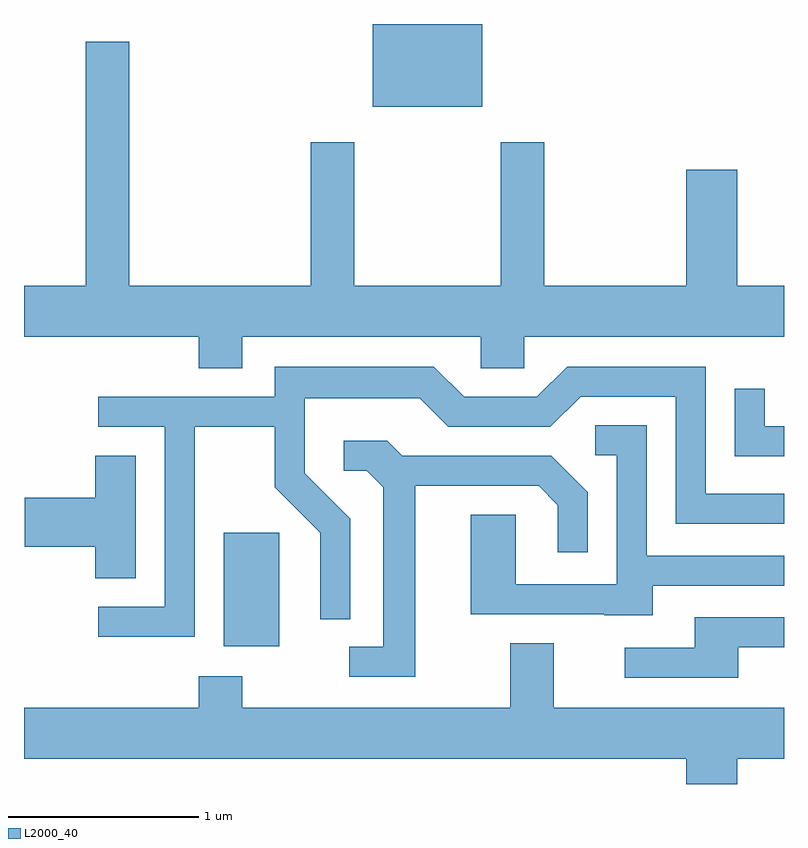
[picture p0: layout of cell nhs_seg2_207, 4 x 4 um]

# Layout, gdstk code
import gdstk
lib = gdstk.Library(unit=1e-6, precision=1e-09)
def R(c, l, rs):  # rectangles x0, y0, x1, y1
    for r in rs: c.add(gdstk.rectangle(r[:2], r[2:], *l))
def P(c, l, *ps):  # polygons
    for p in ps: c.add(gdstk.Polygon(p, *l))
L2000_40 = (2000, 40)

nhs_seg2_207 = lib.new_cell('nhs_seg2_207')
R(nhs_seg2_207, L2000_40, [(192.661,984.526,192.954,985.124), (193.446,987.366,194.024,987.802)])
P(nhs_seg2_207, L2000_40, [(192.759,986.156),(194.016,986.156),(194.016,985.991),(194.244,985.991),(194.244,986.156),(195.611,986.156),(195.611,986.424),(195.364,986.424),(195.364,987.034),(195.096,987.034),(195.096,986.424),(194.349,986.424),(194.349,987.179),(194.121,987.179),(194.121,986.424),(193.349,986.424),(193.349,987.179),(193.121,987.179),(193.121,986.424),(192.164,986.424),(192.164,987.709),(191.936,987.709),(191.936,986.424),(191.611,986.424),(191.611,986.156),(192.531,986.156),(192.531,985.991),(192.759,985.991)],
  [(192.509,985.681),(192.931,985.681),(192.931,985.364),(193.171,985.124),(193.171,984.668),(193.329,984.668),(193.329,985.197),(193.089,985.437),(193.089,985.831),(193.694,985.831),(193.844,985.681),(194.382,985.681),(194.542,985.841),(195.041,985.841),(195.041,985.171),(195.611,985.171),(195.611,985.329),(195.199,985.329),(195.199,985.999),(194.469,985.999),(194.309,985.839),(193.927,985.839),(193.767,985.999),(192.931,985.999),(192.931,985.839),(192.003,985.839),(192.003,985.681),(192.351,985.681),(192.351,984.734),(192.003,984.734),(192.003,984.576),(192.509,984.576)],
  [(195.611,985.684),(195.509,985.684),(195.509,985.883),(195.351,985.883),(195.351,985.526),(195.611,985.526)],
  [(194.919,984.846),(195.611,984.846),(195.611,985.004),(194.889,985.004),(194.889,985.689),(194.618,985.689),(194.618,985.531),(194.731,985.531),(194.731,984.854),(194.199,984.854),(194.199,985.219),(193.961,985.219),(193.961,984.696),(194.665,984.696),(194.665,984.691),(194.919,984.691)],
  [(193.669,985.371),(194.319,985.371),(194.421,985.269),(194.421,985.023),(194.579,985.023),(194.579,985.337),(194.387,985.529),(193.602,985.529),(193.522,985.609),(193.293,985.609),(193.293,985.451),(193.414,985.451),(193.501,985.364),(193.501,984.524),(193.323,984.524),(193.323,984.366),(193.669,984.366)],
  [(192.199,985.529),(191.986,985.529),(191.986,985.309),(191.616,985.309),(191.616,985.051),(191.986,985.051),(191.986,984.886),(192.199,984.886)],
  [(195.369,984.521),(195.611,984.521),(195.611,984.679),(195.141,984.679),(195.141,984.519),(194.773,984.519),(194.773,984.361),(195.369,984.361)],
  [(195.364,983.936),(195.611,983.936),(195.611,984.204),(194.399,984.204),(194.399,984.544),(194.171,984.544),(194.171,984.204),(192.759,984.204),(192.759,984.369),(192.531,984.369),(192.531,984.204),(191.611,984.204),(191.611,983.936),(195.096,983.936),(195.096,983.802),(195.364,983.802)])

lib.write_gds('nhs_seg2_207.gds')
